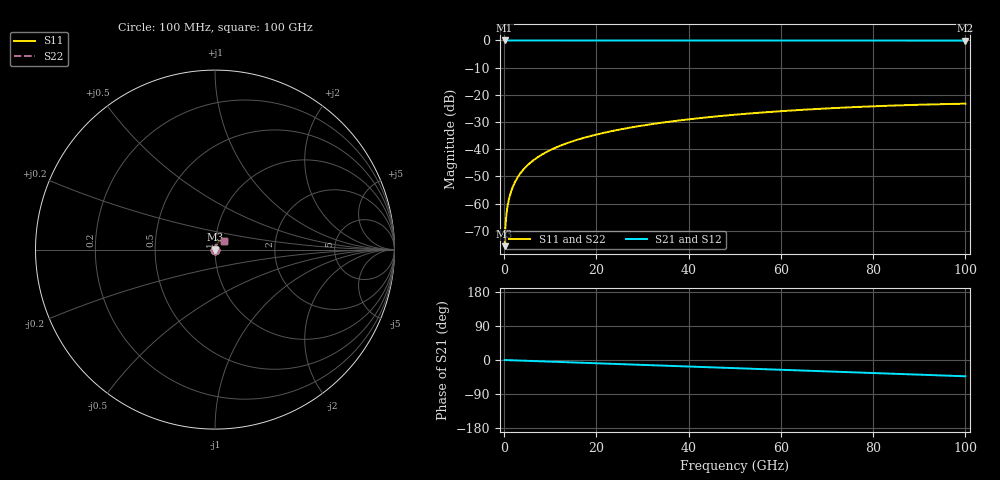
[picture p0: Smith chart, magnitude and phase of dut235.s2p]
! Touchstone file exported from HFSS 2026.1.0
!  File:  C:/ffzhzh/LocalFiles/Ansys_Project_Files/temp_train_TSV_235_1783508049_41296.aedt
!  Generated:  06:55:26 PM Jul  8, 2026
!  Design:  TSV
!  Project:  temp_train_TSV_235_1783508049_41296
! Variables:
!  h_bsmrdl = 2um
!  h_ox = 20um
!  h_rdl = 5um
!  h_sub = 82.87um
!  h_tmrdl = 5um
!  h_tsv = 82.87um
!  h_via = 3um
!  l_bsmrdl = 300um
!  l_sub = 424.32um
!  l_tmrdl = 200um
!  m_sub = 200um
!  pitch = 55.92um
!  r_tsv = 12.16um
!  s_tmrdl = 10um
!  w_bsmrdl = 18um
!  w_sub = 500um
!  w_tmrdl = 12um
!  x_tsv_center1 = 206um
!  x_tsv_center2 = 524um
!  x_tsv_center3 = 736um
!  x_tsv_center4 = 1054um
!  x_tsv_center5 = 1266um
!  x_tsv_center6 = 1584um
# GHz S MA R 50.000000
! Terminal data exported
! Port[1] = TSV1_1_T1
! Port[2] = TSV1_1_T2
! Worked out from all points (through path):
!   1000 points, 100 MHz to 100 GHz, reference 50 ohm
!   highest |S21| = 0.00 dB at 100 MHz (marker M1); lowest = 0.0 dB at 100 GHz (marker M2)
!   group delay of S21, straight-line fit = 1.19 ps
!   lowest |S11| = -75.6 dB at 100 MHz (marker M3), VSWR 1.00, Z = 50 + j0.0135 ohm
!   |S11| at or under -10 dB: start of sweep to end of sweep
!   |S22| runs from -75.6 to -23.2 dB; largest |S21 - S12| = 3.6e-15
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0.1  0.0001652 54.6  0.9999 -0.0  0.9999 -0.0  0.0001652 54.6
! Gamma 0 0 0 0
! Port Impedance 50 0 50 0
0.3  0.0004101 71.7  0.9999 -0.1  0.9999 -0.1  0.0004101 71.7
0.7  0.0008557 75.6  0.9998 -0.3  0.9998 -0.3  0.0008557 75.6
0.8  0.0009589 76.1  0.9998 -0.4  0.9998 -0.4  0.0009589 76.1
1  0.001161 77.1  0.9997 -0.4  0.9997 -0.4  0.001161 77.1
1.3  0.00146 78.2  0.9997 -0.6  0.9997 -0.6  0.00146 78.2
1.8  0.001954 79.4  0.9997 -0.8  0.9997 -0.8  0.001954 79.4
2.3  0.002442 80.2  0.9996 -1.0  0.9996 -1.0  0.002442 80.2
3  0.003118 80.8  0.9996 -1.3  0.9996 -1.3  0.003118 80.8
3.8  0.00388 81.2  0.9995 -1.7  0.9995 -1.7  0.00388 81.2
4.8  0.004821 81.4  0.9994 -2.1  0.9994 -2.1  0.004821 81.4
6  0.005942 81.5  0.9994 -2.6  0.9994 -2.6  0.005942 81.5
8.8  0.008534 81.2  0.9992 -3.8  0.9992 -3.8  0.008534 81.2
12.4  0.01183 80.3  0.999 -5.3  0.999 -5.3  0.01183 80.3
16.8  0.01578 79.0  0.9988 -7.2  0.9988 -7.2  0.01578 79.0
24.2  0.0223 76.4  0.9985 -10.4  0.9985 -10.4  0.0223 76.4
33.4  0.03012 72.9  0.9981 -14.3  0.9981 -14.3  0.03012 72.9
41.2  0.03643 69.8  0.9977 -17.7  0.9977 -17.7  0.03643 69.8
50.1  0.0432 66.2  0.9973 -21.5  0.9973 -21.5  0.0432 66.2
66.7  0.05435 59.4  0.9964 -28.6  0.9964 -28.6  0.05435 59.4
83.4  0.06315 52.4  0.9956 -35.8  0.9956 -35.8  0.06315 52.4
100  0.06882 45.4  0.9948 -43.0  0.9948 -43.0  0.06882 45.5
